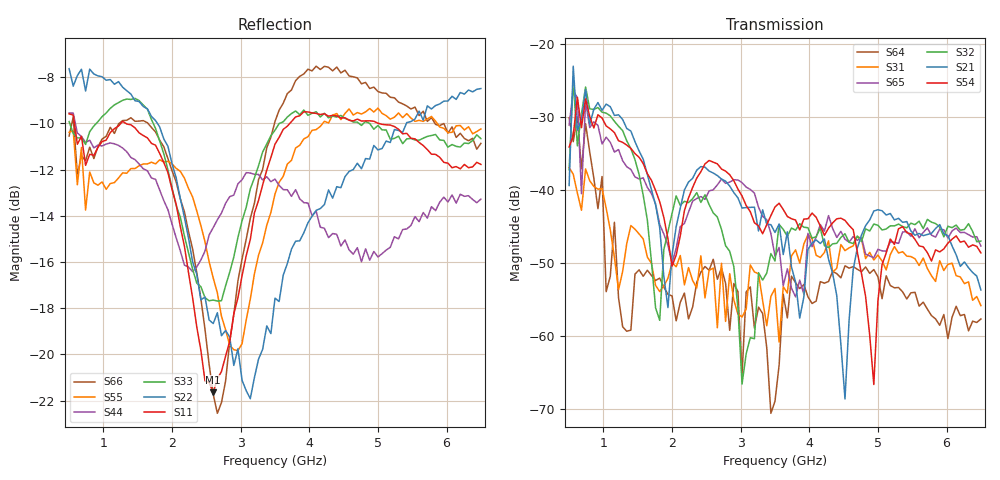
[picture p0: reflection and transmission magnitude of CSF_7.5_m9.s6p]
!Keysight Technologies,M9804A,MY58100912,A.14.10.03
!Date: Thursday, April 27, 2023 10:28:33
!Correction: S11(C  6-Port  )
!S12(C  6-Port  )
!S13(C  6-Port  )
!S14(C  6-Port  )
!S15(C  6-Port  )
!S16(C  6-Port  )
!S21(C  6-Port  )
!S22(C  6-Port  )
!S23(C  6-Port  )
!S24(C  6-Port  )
!S25(C  6-Port  )
!S26(C  6-Port  )
!S31(C  6-Port  )
!S32(C  6-Port  )
!S33(C  6-Port  )
!S34(C  6-Port  )
!S35(C  6-Port  )
!S36(C  6-Port  )
!S41(C  6-Port  )
!S42(C  6-Port  )
!S43(C  6-Port  )
!S44(C  6-Port  )
!S45(C  6-Port  )
!S46(C  6-Port  )
!S51(C  6-Port  )
!S52(C  6-Port  )
!S53(C  6-Port  )
!S54(C  6-Port  )
!S55(C  6-Port  )
!S56(C  6-Port  )
!S61(C  6-Port  )
!S62(C  6-Port  )
!S63(C  6-Port  )
!S64(C  6-Port  )
!S65(C  6-Port  )
!S66(C  6-Port  )
!S6P File: Measurement: :
# Hz S  RI  R 50
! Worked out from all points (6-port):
!   101 points, 500 MHz to 6.5 GHz, reference 50 ohm
!   strongest paths, dB at 500 MHz, 2 GHz, 3.5 GHz, 5 GHz, 6.5 GHz:
!     S54: -34.1, -50.5, -42.4, -55.2, -48.6
!     S21: -39.4, -48.9, -45.8, -42.7, -53.7
!     S32: -37.3, -43.2, -49.8, -44.9, -47.0
!     S65: -31.2, -50.0, -49.1, -48.2, -47.7
!     S31: -37.0, -50.0, -53.5, -48.9, -55.9
!     S64: -30.2, -54.5, -68.9, -51.9, -57.7
!   lowest |S11| = -21.6 dB at 2.6 GHz (marker M1), VSWR 1.18, Z = 42.6 + j2.1 ohm
!   |S11| at or under -10 dB: 577.1 MHz to 1.254 GHz (676.9 MHz wide, 73.9 % of centre); 1.326 GHz to 3.716 GHz (2.39 GHz wide, 94.8 % of centre); 5.01 GHz to end of sweep
